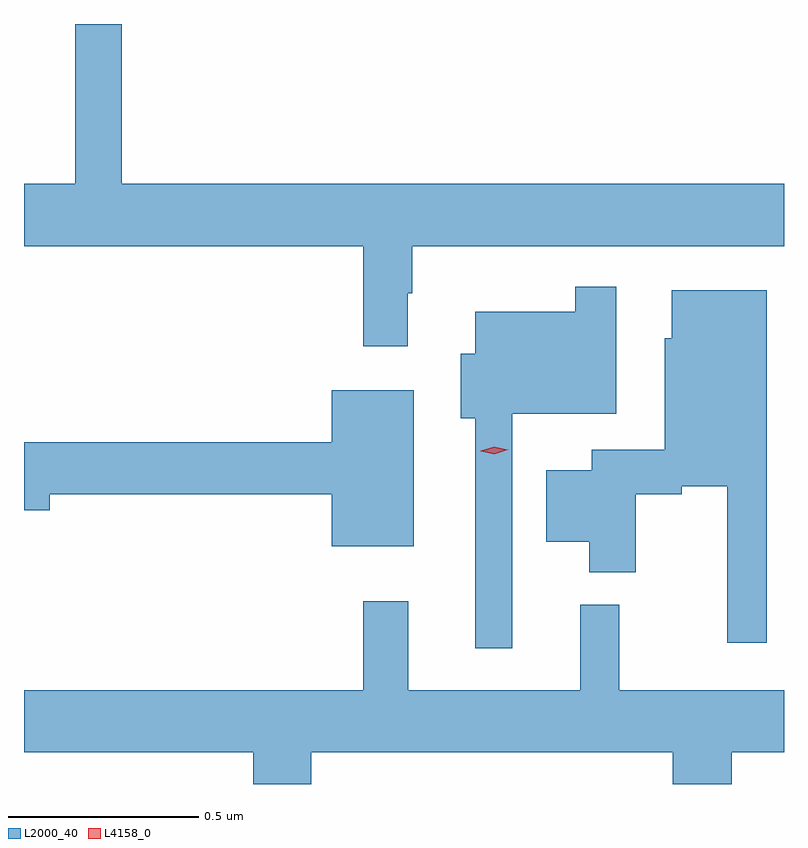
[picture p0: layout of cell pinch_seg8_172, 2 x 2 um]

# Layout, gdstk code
import gdstk
lib = gdstk.Library(unit=1e-6, precision=1e-09)
def P(c, l, *ps):  # polygons
    for p in ps: c.add(gdstk.Polygon(p, *l))
L2000_40 = (2000, 40)
L4158_0 = (4158, 0)

pinch_seg8_172 = lib.new_cell('pinch_seg8_172')
P(pinch_seg8_172, L2000_40, [(670.384,1145.681),(670.396,1145.681),(670.396,1145.804),(671.374,1145.804),(671.374,1145.968),(669.631,1145.968),(669.631,1146.389),(669.509,1146.389),(669.509,1145.968),(669.374,1145.968),(669.374,1145.804),(670.267,1145.804),(670.267,1145.541),(670.384,1145.541)],
  [(670.659,1145.363),(670.932,1145.363),(670.932,1145.698),(670.824,1145.698),(670.824,1145.632),(670.562,1145.632),(670.562,1145.521),(670.523,1145.521),(670.523,1145.351),(670.562,1145.351),(670.562,1144.746),(670.659,1144.746)],
  [(671.329,1145.689),(671.078,1145.689),(671.078,1145.562),(671.06,1145.562),(671.06,1145.268),(670.868,1145.268),(670.868,1145.215),(670.748,1145.215),(670.748,1145.027),(670.862,1145.027),(670.862,1144.946),(670.984,1144.946),(670.984,1145.152),(671.105,1145.152),(671.105,1145.172),(671.225,1145.172),(671.225,1144.761),(671.329,1144.761)],
  [(670.399,1145.425),(670.184,1145.425),(670.184,1145.288),(669.374,1145.288),(669.374,1145.11),(669.442,1145.11),(669.442,1145.152),(670.184,1145.152),(670.184,1145.015),(670.399,1145.015)],
  [(670.13,1144.472),(671.081,1144.472),(671.081,1144.389),(671.237,1144.389),(671.237,1144.472),(671.374,1144.472),(671.374,1144.636),(670.94,1144.636),(670.94,1144.861),(670.838,1144.861),(670.838,1144.636),(670.385,1144.636),(670.385,1144.87),(670.267,1144.87),(670.267,1144.636),(669.374,1144.636),(669.374,1144.472),(669.977,1144.472),(669.977,1144.389),(670.13,1144.389)])
P(pinch_seg8_172, L4158_0, [(670.612,1145.257),(670.576,1145.265),(670.576,1145.265),(670.576,1145.266),(670.611,1145.277),(670.647,1145.268),(670.648,1145.268),(670.647,1145.268)])

lib.write_gds('pinch_seg8_172.gds')
